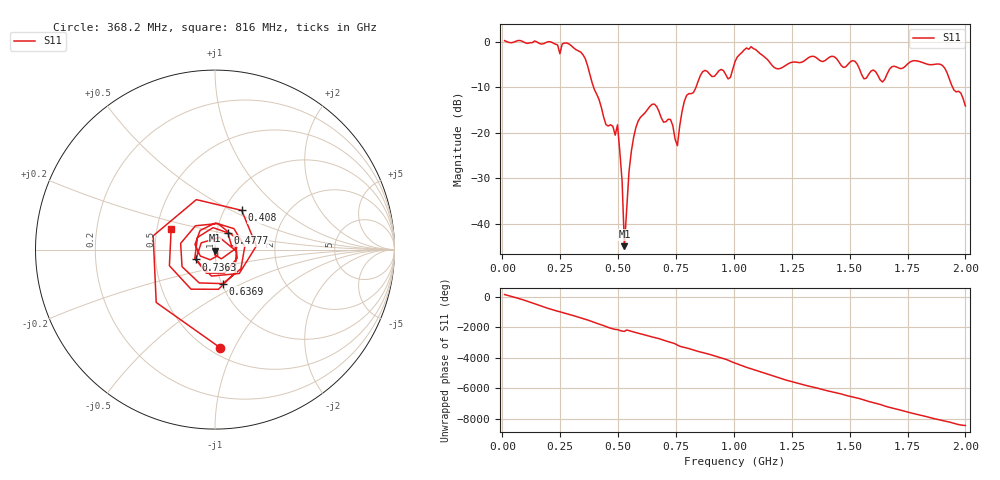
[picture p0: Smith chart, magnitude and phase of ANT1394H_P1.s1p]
!Created with skrf (http://scikit-rf.org).
# Hz S RI R 50.0
!freq ReS11 ImS11
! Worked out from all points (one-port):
!   201 points, 10 MHz to 2 GHz, reference 50 ohm
!   lowest |S11| = -44.9 dB at 527.4 MHz (marker M1), VSWR 1.01, Z = 49.8 - j0.52 ohm
!   |S11| at or under -10 dB: 394.5 MHz to 836.7 MHz (442.2 MHz wide, 71.8 % of centre); 1.945 GHz to end of sweep
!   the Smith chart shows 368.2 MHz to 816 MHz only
!   S11 on the Smith chart (normalised r, x): 368.2 MHz: 0.56, -0.88; 408 MHz: 1.20, +0.57; 477.6 MHz: 1.13, +0.21; 636.9 MHz: 1.01, -0.40; 736.4 MHz: 0.80, -0.09; 816 MHz: 0.59, +0.14
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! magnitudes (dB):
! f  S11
! 10 MHz  0.2
! 258.8 MHz  -0.5
! 368.2 MHz  -5.2
! 408 MHz  -11.6
! 447.8 MHz  -18.2
! 477.6 MHz  -18.6
! 497.6 MHz  -18.3
! 507.5 MHz  -24.1
! 517.5 MHz  -30.6
! 527.4 MHz  -44.9
! 547.3 MHz  -28.5
! 567.2 MHz  -21.0
! 636.9 MHz  -14.2
! 736.4 MHz  -18.4
! 756.2 MHz  -22.8
! 786.1 MHz  -13.1
! 816 MHz  -11.4
! 865.7 MHz  -6.6
! 975.1 MHz  -8.2
! 1.005 GHz  -4.4
! 1.075 GHz  -1.1
! 1.184 GHz  -5.9
! 1.254 GHz  -4.5
! 1.502 GHz  -4.4
! 1.642 GHz  -8.8
! 1.751 GHz  -4.9
! 1.901 GHz  -5.2
! 2 GHz  -14.1
